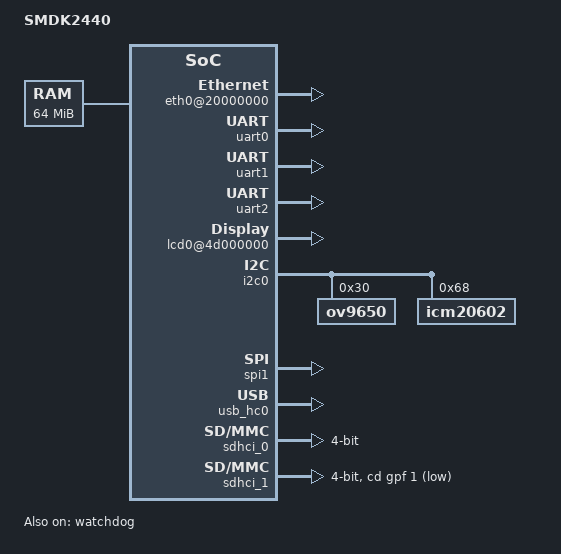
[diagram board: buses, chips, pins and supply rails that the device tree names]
// SPDX-License-Identifier: GPL-2.0
/*
 * SAMSUNG SMDK2416 board device tree source
 *
 * Copyright (c) 2013 Heiko Stuebner <heiko@sntech.de>
 */


/*

interrupt controller
1 main controller:intc
2 sub controller:sub-intc
3 sub controller:extrn-intc
#interrupt-cells = <0x4>;  
if use the main-controller interrupt,then set as <controller-number   0   main-controller-number   Interrupt-trigger-type>
if use the sub&ext-controller interrupt,then set as  <controller-number   main-controller-irq-number   sub-controller-number   Interrupt-trigger-type>
uart and timer setting just use the interrupt innformation,the other platform device information is static in the code
*/
/dts-v1/;
#include "s3c2416.dtsi"

/ {
	model = "SMDK2440";
	compatible = "samsung,SMDK2440";

	memory@30000000 {
		device_type = "memory";
		reg =  <0x30000000 0x4000000>;
	};

	clocks {
		compatible = "simple-bus";

		xti: xti {
			compatible = "fixed-clock";
			clock-frequency = <12000000>;
			clock-output-names = "xti";
			#clock-cells = <0>;
		};
	};
	eth0@20000000 {
		compatible = "dv,dm9000";
		interrupt-parent = <&extintc>;
		reg = <0x20000000 0x4>,<0x20000004 0x4>;
		interrupts = <2 4 7 1>;
	};
	uart0: serial0@50000000 {
		compatible = "samsung,2440-uart";
		interrupt-parent = <&subintc>;
		reg = <0x50000000 0x4000>;
		interrupts = <1 28 0 4>,<1 28 1 4>;
		status = "okay";
	};

	uart1: serial1@50004000 {
		compatible = "samsung,2440-uart";
		interrupt-parent = <&subintc>;
		reg = <0x50004000 0x4000>;
		interrupts = <1 23 3 4>,<1 23 4 4>;
		status = "okay";
	};
	uart2: serial2@50008000 {
		compatible = "samsung,2440-uart";
		interrupt-parent = <&subintc>;
		reg = <0x50008000 0x4000>;
		interrupts = <1 15 6 4>,<1 15 7 4>;
		status = "okay";
	};
	lcd0@4d000000 {
		compatible = "s3c,td35";
		interrupt-parent = <&intc>;
		reg = <0x4d000000 0x80>;
		interrupts = <0 0 16 1>;
	};
	
	camif0@4F000000 {
		compatible = "samsung,s3c2440-camif";
		interrupt-parent = <&subintc>;
		reg = <0x4F000000 0x1000>;
		interrupts = <1 6 11 4>,<1 6 12 4>;
		sensor_name="ov9650";
	};
	i2c0: i2c@54000000 {
		compatible = "samsung,s3c2440-i2c";
		interrupt-parent = <&intc>;
		reg = <0x54000000 0x100>;
		interrupts = <0 0 27 1>;
		#address-cells = <1>;
    		#size-cells = <0>;
		samsung,i2c-sda-delay=<40>; //delay 40 pclk
		samsung,i2c-slave-addr=<0x70>;
		samsung,i2c-max-bus-freq=<5000>;  //10khz,i2c clock
		ov9650@60 {
			compatible = "ov9650";
			reg=<0x30>;  //ov9650 addr is 0x60,but in the i2c driver,the addr will <<1,so set 0x30 here
			clock_frequency=<24000000>;  //cammera frequency
		};
		icm20602@68 {
			compatible = "icm20602";
			reg=<0x68>; //icm20602 default addr is 0x68(set pin SA0 as low)
		};
	};
	spi1: spi@59000020 {
		compatible = "samsung,s3c2410-spi";
		interrupt-parent = <&intc>;
		reg = <0x59000020 0x20>;
		interrupts = <0 0 29 1>;
		samsung,spi-bus-num=<0x1>;
		samsung,spi-num-cs=<0x1>;
	};
	usb_hc0: usb@49000000 {
		compatible = "samsung,s3c2410-ohci";
                interrupt-parent = <&intc>;
		reg = <0x49000000 0x100>;
		interrupts = <0 0 26 1>;
	};

};
/*
&rtc {
	status = "okay";
};
*/
&sdhci_0 {
	pinctrl-names = "default";
	pinctrl-0 = <&sd1_clk>, <&sd1_cmd>,
			<&sd1_bus1>, <&sd1_bus4>;
	bus-width = <4>;
	broken-cd;
	status = "okay";
};

&sdhci_1 {
	pinctrl-names = "default";
	pinctrl-0 = <&sd0_clk>, <&sd0_cmd>,
			<&sd0_bus1>, <&sd0_bus4>;
	bus-width = <4>;
	cd-gpios = <&gpf 1 0>;
	cd-inverted;
	status = "okay";
};

&watchdog {
	status = "okay";
};
